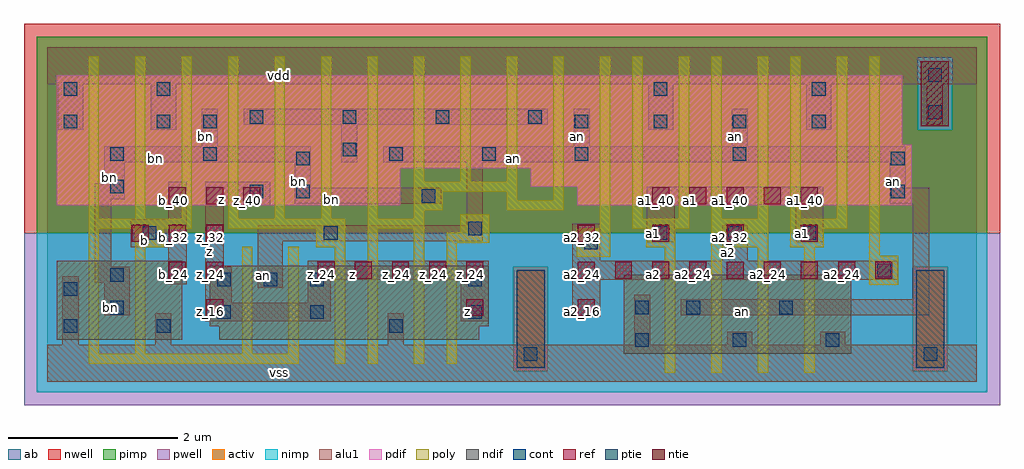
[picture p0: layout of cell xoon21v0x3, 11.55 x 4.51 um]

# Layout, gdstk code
import gdstk
lib = gdstk.Library(unit=1e-6, precision=2.5e-09)
def R(c, l, rs):  # rectangles x0, y0, x1, y1
    for r in rs: c.add(gdstk.rectangle(r[:2], r[2:], *l))
def A(c, l, x, y, w, h, nx, ny, dx, dy):  # array of equal rectangles
    R(c, l, [(x+i*dx, y+j*dy, x+i*dx+w, y+j*dy+h) for i in range(nx) for j in range(ny)])
ndif = (3, 0)
pdif = (4, 0)
ntie = (5, 0)
ptie = (6, 0)
ref = (24, 0)
cont = (25, 0)
pwell = (41, 0)
nwell = (42, 0)
activ = (43, 0)
pimp = (44, 0)
nimp = (45, 0)
poly = (46, 0)
alu1 = (49, 0)
ab = (63, 0)

xoon21v0x3 = lib.new_cell('xoon21v0x3')
R(xoon21v0x3, ndif, [(6.82,0.33,9.515,1.265), (0.11,0.495,1.595,1.43), (2.035,0.495,5.115,0.66), (1.925,0.66,5.225,1.375)])
R(xoon21v0x3, pdif, [(0.11,2.09,4.18,2.53), (6.27,2.09,10.23,2.31), (5.72,2.31,10.23,2.53), (0.11,2.53,10.23,2.805), (0.11,2.805,10.12,3.63)])
R(xoon21v0x3, ntie, [(10.34,3.025,10.67,3.795)])
R(xoon21v0x3, ptie, [(5.555,0.165,5.885,1.32), (10.285,0.165,10.615,1.32)])
A(xoon21v0x3, ref, 3.2, 1.22, 0.2, 0.2, 5, 1, 0.44, 0)
A(xoon21v0x3, ref, 6.28, 1.22, 0.2, 0.2, 9, 1, 0.44, 0)
A(xoon21v0x3, ref, 1, 1.66, 0.2, 0.2, 3, 1, 0.44, 0)
A(xoon21v0x3, ref, 6.28, 1.66, 0.2, 0.2, 4, 1, 0.88, 0)
A(xoon21v0x3, ref, 1.44, 2.1, 0.2, 0.2, 3, 1, 0.44, 0)
A(xoon21v0x3, ref, 7.16, 2.1, 0.2, 0.2, 5, 1, 0.44, 0)
R(xoon21v0x3, ref, [(1.88,0.78,2.08,0.98), (4.96,0.78,5.16,0.98), (6.28,0.78,6.48,0.98), (1.44,1.22,1.64,1.42), (1.88,1.22,2.08,1.42)])
A(xoon21v0x3, cont, 2.01, 1.13, 0.16, 0.16, 3, 1, 0.55, 0)
A(xoon21v0x3, cont, 7.18, 1.68, 0.16, 0.16, 3, 1, 0.88, 0)
A(xoon21v0x3, cont, 4.045, 2.615, 0.16, 0.16, 3, 1, 1.1, 0)
A(xoon21v0x3, cont, 6.245, 3, 0.16, 0.16, 4, 1, 0.935, 0)
A(xoon21v0x3, cont, 2.395, 3.055, 0.16, 0.16, 4, 1, 1.1, 0)
R(xoon21v0x3, cont, [(5.64,0.25,5.8,0.41), (10.37,0.25,10.53,0.41), (6.96,0.415,7.12,0.575), (8.115,0.415,8.275,0.575), (9.215,0.415,9.375,0.575), (0.195,0.58,0.355,0.74), (1.295,0.58,1.455,0.74), (4.045,0.58,4.205,0.74), (2.01,0.745,2.17,0.905), (3.11,0.745,3.27,0.905), (4.98,0.745,5.14,0.905), (0.745,0.8,0.905,0.96), (6.96,0.8,7.12,0.96), (7.565,0.8,7.725,0.96), (8.665,0.8,8.825,0.96), (0.195,1.02,0.355,1.18), (4.98,1.13,5.14,1.29), (0.745,1.185,0.905,1.345), (9.82,1.24,9.98,1.4), (6.355,1.57,6.515,1.73), (1.13,1.68,1.29,1.84), (3.275,1.68,3.435,1.84), (4.98,1.735,5.14,1.895), (4.43,2.12,4.59,2.28), (2.395,2.175,2.555,2.335), (2.945,2.175,3.105,2.335), (9.985,2.175,10.145,2.335), (0.745,2.23,0.905,2.39), (2.945,2.56,3.105,2.72), (9.985,2.56,10.145,2.72), (0.745,2.615,0.905,2.775), (1.845,2.615,2.005,2.775), (8.115,2.615,8.275,2.775), (3.495,2.67,3.655,2.83), (0.195,3,0.355,3.16), (1.295,3,1.455,3.16), (1.845,3,2.005,3.16), (10.425,3.11,10.585,3.27), (0.195,3.385,0.355,3.545), (1.295,3.385,1.455,3.545), (7.18,3.385,7.34,3.545), (9.05,3.385,9.21,3.545), (10.425,3.55,10.585,3.71)])
R(xoon21v0x3, pwell, [(-0.275,-0.275,11.275,1.76)])
R(xoon21v0x3, nwell, [(-0.275,1.76,11.275,4.235)])
R(xoon21v0x3, activ, [(5.555,0.165,5.885,1.32), (10.285,0.165,10.615,1.32), (6.82,0.33,9.515,1.265), (0.11,0.495,1.595,1.43), (2.035,0.495,5.115,0.66), (1.925,0.66,5.225,1.375), (0.11,2.09,4.18,2.53), (6.27,2.09,10.23,2.31), (5.72,2.31,10.23,2.53), (0.11,2.53,10.23,2.805), (0.11,2.805,10.12,3.63), (10.34,3.025,10.67,3.795)])
R(xoon21v0x3, pimp, [(5.515,0.125,5.925,1.36), (10.245,0.125,10.655,1.36), (-0.125,1.76,11.125,2.985), (-0.125,2.985,10.3,3.835), (10.71,2.985,11.125,3.835), (-0.125,3.835,11.125,4.085)])
R(xoon21v0x3, nimp, [(-0.125,-0.125,11.125,0.125), (-0.125,0.125,5.515,1.36), (5.925,0.125,10.245,1.36), (10.655,0.125,11.125,1.36), (-0.125,1.36,11.125,1.76), (10.3,2.985,10.71,3.835)])
A(xoon21v0x3, poly, 7.31, 0.105, 0.12, 1.485, 4, 1, 0.55, 0)
A(xoon21v0x3, poly, 0.49, 1.93, 0.12, 1.925, 7, 1, 0.55, 0)
A(xoon21v0x3, poly, 4.34, 2.37, 0.12, 1.485, 3, 1, 0.55, 0)
R(xoon21v0x3, poly, [(0.49,0.215,2.975,0.335), (3.405,0.215,3.525,1.59), (3.79,0.215,3.91,1.81), (4.34,0.215,4.46,1.81), (4.725,0.215,4.845,1.645), (0.49,0.335,0.61,1.81), (1.04,0.335,1.16,1.59), (2.305,0.335,2.425,1.6), (2.855,0.335,2.975,1.6), (9.73,1.15,10.07,1.49), (6.265,1.48,6.66,1.82), (9.73,1.49,9.85,3.855), (1.04,1.59,1.38,1.81), (3.185,1.59,3.525,1.81), (7.09,1.59,7.43,1.81), (7.86,1.59,8.53,1.93), (8.795,1.59,9.19,1.81), (4.725,1.645,5.23,1.765), (4.89,1.765,5.23,1.985), (0.49,1.81,1.71,1.93), (2.14,1.81,3.525,1.93), (3.79,1.81,4.46,1.93), (6.925,1.81,7.595,1.93), (8.795,1.81,9.465,1.93), (6.54,1.82,6.66,3.855), (4.34,1.93,4.46,2.03), (6.925,1.93,7.045,3.855), (7.475,1.93,7.595,3.855), (7.86,1.93,7.98,3.855), (8.41,1.93,8.53,3.855), (8.795,1.93,8.915,3.855), (9.345,1.93,9.465,3.855), (4.34,2.03,4.68,2.25), (5.44,2.03,6.11,2.15), (5.44,2.15,5.56,2.25), (5.99,2.15,6.11,3.855), (4.34,2.25,5.56,2.37)])
R(xoon21v0x3, alu1, [(0,0,11,0.44), (0.18,0.44,0.37,1.25), (1.28,0.44,1.47,0.81), (4.03,0.44,4.22,0.81), (6.945,0.44,7.135,1.03), (8.045,0.44,8.345,0.59), (9.145,0.44,9.445,0.59), (1.87,0.715,3.355,0.935), (4.895,0.715,5.225,1.21), (6.215,0.77,6.545,1.21), (0.675,0.785,0.975,1.17), (7.495,0.785,10.435,0.975), (1.87,0.935,2.185,1.36), (3.08,0.935,3.355,1.21), (10.245,0.975,10.435,2.105), (2.49,1.115,2.79,1.665), (1.43,1.155,1.65,1.595), (0.565,1.17,0.975,1.36), (3.08,1.21,5.225,1.43), (6.215,1.21,10.065,1.43), (0.565,1.36,0.755,2.16), (1.87,1.36,2.09,2.09), (6.215,1.43,6.545,1.87), (7.99,1.43,8.29,1.855), (0.99,1.595,1.65,1.925), (7.095,1.65,7.425,2.09), (8.855,1.65,9.185,2.09), (2.49,1.665,5.155,1.855), (4.965,1.855,5.155,2.6), (8.03,1.855,8.25,1.87), (1.43,1.925,1.65,2.365), (1.87,2.09,2.64,2.365), (7.095,2.09,9.185,2.31), (2.93,2.105,4.66,2.295), (9.97,2.105,10.435,2.295), (0.565,2.16,0.92,2.35), (2.93,2.295,3.12,2.6), (9.97,2.295,10.16,2.6), (0.675,2.35,0.92,2.6), (0.675,2.6,3.12,2.79), (3.48,2.6,3.67,3.04), (3.975,2.6,10.16,2.79), (1.83,2.79,2.02,3.23), (6.23,2.79,6.42,3.23), (8.1,2.79,8.29,3.23), (0.125,2.985,0.425,3.52), (1.225,2.985,1.525,3.52), (7.11,2.985,7.41,3.52), (8.98,2.985,9.28,3.52), (2.325,3.04,5.925,3.23), (10.41,3.04,10.6,3.52), (0,3.52,11,3.96)])
R(xoon21v0x3, ab, [(0,0,11,3.96)])
xoon21v0x3.add(gdstk.Label('vss', (2.75,0.11), layer=49, texttype=0))
xoon21v0x3.add(gdstk.Label('an', (8.23,0.8325), layer=49, texttype=0))
xoon21v0x3.add(gdstk.Label('a2', (7.1775,1.265), layer=49, texttype=0))
xoon21v0x3.add(gdstk.Label('z', (4.9775,0.8375), layer=49, texttype=0))
xoon21v0x3.add(gdstk.Label('z', (3.615,1.265), layer=49, texttype=0))
xoon21v0x3.add(gdstk.Label('a1', (8.9375,1.76), layer=49, texttype=0))
xoon21v0x3.add(gdstk.Label('a2', (8.065,1.535), layer=49, texttype=0))
xoon21v0x3.add(gdstk.Label('a1', (7.1775,1.76), layer=49, texttype=0))
xoon21v0x3.add(gdstk.Label('an', (2.565,1.2525), layer=49, texttype=0))
xoon21v0x3.add(gdstk.Label('an', (10.0175,2.37), layer=49, texttype=0))
xoon21v0x3.add(gdstk.Label('a1', (7.6175,2.145), layer=49, texttype=0))
xoon21v0x3.add(gdstk.Label('z', (1.925,1.5425), layer=49, texttype=0))
xoon21v0x3.add(gdstk.Label('bn', (3.3625,2.1525), layer=49, texttype=0))
xoon21v0x3.add(gdstk.Label('bn', (2.9775,2.37), layer=49, texttype=0))
xoon21v0x3.add(gdstk.Label('z', (2.0625,2.1575), layer=49, texttype=0))
xoon21v0x3.add(gdstk.Label('bn', (0.75,0.88), layer=49, texttype=0))
xoon21v0x3.add(gdstk.Label('b', (1.155,1.6775), layer=49, texttype=0))
xoon21v0x3.add(gdstk.Label('bn', (0.735,2.4125), layer=49, texttype=0))
xoon21v0x3.add(gdstk.Label('an', (5.52,2.6475), layer=49, texttype=0))
xoon21v0x3.add(gdstk.Label('an', (8.1475,2.9), layer=49, texttype=0))
xoon21v0x3.add(gdstk.Label('an', (6.2775,2.9), layer=49, texttype=0))
xoon21v0x3.add(gdstk.Label('bn', (1.285,2.6475), layer=49, texttype=0))
xoon21v0x3.add(gdstk.Label('bn', (1.8775,2.9), layer=49, texttype=0))
xoon21v0x3.add(gdstk.Label('vdd', (2.75,3.63), layer=49, texttype=0))
xoon21v0x3.add(gdstk.Label('a2_16', (6.33,0.83), layer=24, texttype=0))
xoon21v0x3.add(gdstk.Label('a2_24', (6.33,1.27), layer=24, texttype=0))
xoon21v0x3.add(gdstk.Label('a2_32', (6.33,1.71), layer=24, texttype=0))
xoon21v0x3.add(gdstk.Label('a2_24', (6.77,1.27), layer=24, texttype=0))
xoon21v0x3.add(gdstk.Label('a2_24', (7.21,1.27), layer=24, texttype=0))
xoon21v0x3.add(gdstk.Label('a1_32', (7.21,1.71), layer=24, texttype=0))
xoon21v0x3.add(gdstk.Label('a1_40', (7.21,2.15), layer=24, texttype=0))
xoon21v0x3.add(gdstk.Label('a2_24', (7.65,1.27), layer=24, texttype=0))
xoon21v0x3.add(gdstk.Label('a1_40', (7.65,2.15), layer=24, texttype=0))
xoon21v0x3.add(gdstk.Label('a2_24', (8.09,1.27), layer=24, texttype=0))
xoon21v0x3.add(gdstk.Label('a2_32', (8.09,1.71), layer=24, texttype=0))
xoon21v0x3.add(gdstk.Label('a1_40', (8.09,2.15), layer=24, texttype=0))
xoon21v0x3.add(gdstk.Label('a2_24', (8.53,1.27), layer=24, texttype=0))
xoon21v0x3.add(gdstk.Label('a1_40', (8.53,2.15), layer=24, texttype=0))
xoon21v0x3.add(gdstk.Label('a2_24', (8.97,1.27), layer=24, texttype=0))
xoon21v0x3.add(gdstk.Label('a1_32', (8.97,1.71), layer=24, texttype=0))
xoon21v0x3.add(gdstk.Label('a1_40', (8.97,2.15), layer=24, texttype=0))
xoon21v0x3.add(gdstk.Label('a2_24', (9.41,1.27), layer=24, texttype=0))
xoon21v0x3.add(gdstk.Label('a2_24', (9.85,1.27), layer=24, texttype=0))
xoon21v0x3.add(gdstk.Label('b_32', (1.05,1.71), layer=24, texttype=0))
xoon21v0x3.add(gdstk.Label('b_24', (1.49,1.27), layer=24, texttype=0))
xoon21v0x3.add(gdstk.Label('b_32', (1.49,1.71), layer=24, texttype=0))
xoon21v0x3.add(gdstk.Label('b_40', (1.49,2.15), layer=24, texttype=0))
xoon21v0x3.add(gdstk.Label('z_16', (1.93,0.83), layer=24, texttype=0))
xoon21v0x3.add(gdstk.Label('z_24', (1.93,1.27), layer=24, texttype=0))
xoon21v0x3.add(gdstk.Label('z_32', (1.93,1.71), layer=24, texttype=0))
xoon21v0x3.add(gdstk.Label('z_40', (1.93,2.15), layer=24, texttype=0))
xoon21v0x3.add(gdstk.Label('z_40', (2.37,2.15), layer=24, texttype=0))
xoon21v0x3.add(gdstk.Label('z_24', (3.25,1.27), layer=24, texttype=0))
xoon21v0x3.add(gdstk.Label('z_24', (3.69,1.27), layer=24, texttype=0))
xoon21v0x3.add(gdstk.Label('z_24', (4.13,1.27), layer=24, texttype=0))
xoon21v0x3.add(gdstk.Label('z_24', (4.57,1.27), layer=24, texttype=0))
xoon21v0x3.add(gdstk.Label('z_16', (5.01,0.83), layer=24, texttype=0))
xoon21v0x3.add(gdstk.Label('z_24', (5.01,1.27), layer=24, texttype=0))

lib.write_gds('xoon21v0x3.gds')
